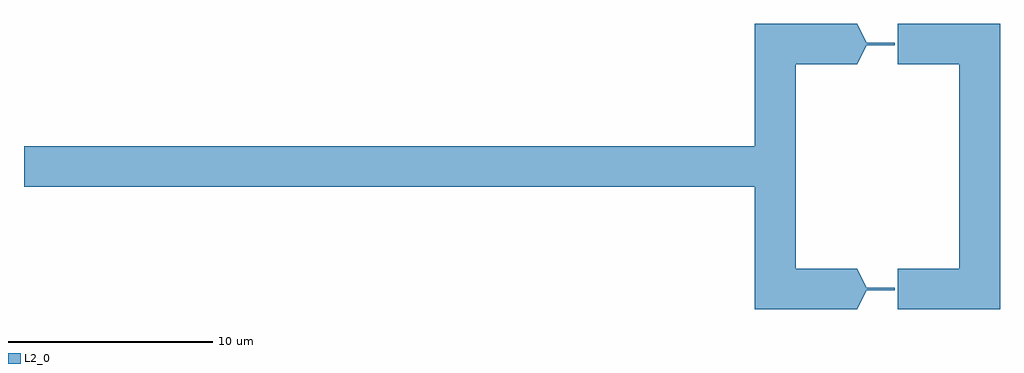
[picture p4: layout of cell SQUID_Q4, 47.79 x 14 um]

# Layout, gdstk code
import gdstk
lib = gdstk.Library(unit=1e-6, precision=1e-09)
def R(c, l, rs):  # rectangles x0, y0, x1, y1
    for r in rs: c.add(gdstk.rectangle(r[:2], r[2:], *l))
def P(c, l, *ps):  # polygons
    for p in ps: c.add(gdstk.Polygon(p, *l))
L2_0 = (2, 0)

squid_q4 = lib.new_cell('SQUID_Q4')
R(squid_q4, L2_0, [(10.896,-7,12.896,7), (12.896,-7,15.901,-5), (17.891,-7,20.896,-5), (20.896,-7,22.896,7), (16.381,-6.068,17.741,-5.932), (-24.896,-1,10.896,1), (12.896,5,15.901,7), (17.891,5,20.896,7), (16.381,5.932,17.741,6.068)])
P(squid_q4, L2_0, [(15.901,-7),(16.381,-6.068),(16.381,-5.932),(15.901,-5)],
  [(15.901,5),(16.381,5.932),(16.381,6.068),(15.901,7)])

lib.write_gds('SQUID_Q4.gds')
